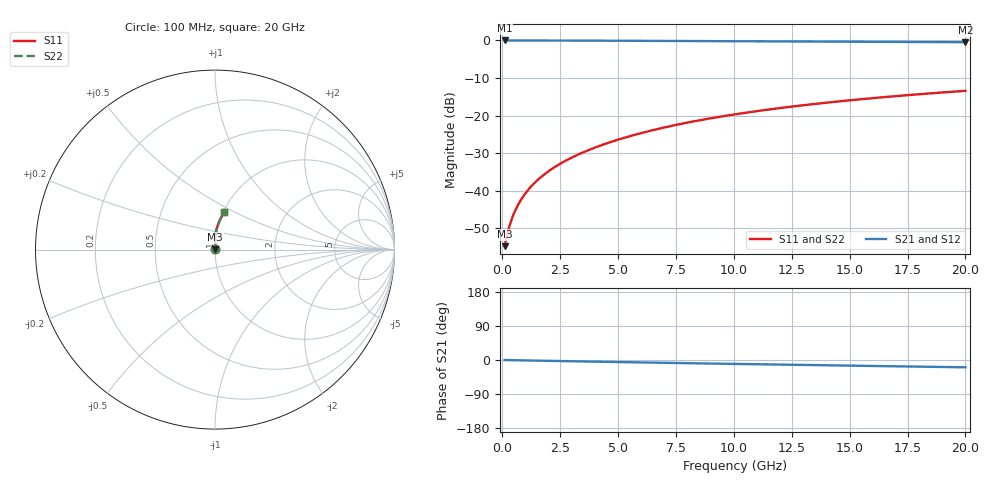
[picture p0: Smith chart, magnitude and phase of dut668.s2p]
! Touchstone file exported from HFSS 2024.1.0
!  File:  C:/UserFiles/LocalFiles/RDL_TSV_Batchsim/temp_RDL_bottom_668_1779786050.aedt
!  Generated:  05:03:42 PM May 26, 2026
!  Design:  RDL_bottom
!  Project:  temp_RDL_bottom_668_1779786050
!  Setup:  Setup1
!  Solution:  Sweep
! Variables:
!  dtsv = 10.80580581um
!  hbump = 3um
!  htsv = 53.14um
!  ldown = 231.38um
!  lrdl = 100um
!  p = 40
!  p1 = 54.75um
!  rhole = 1um
!  t = 450um
!  tdown = 2.67um
!  trdl = 3.915915916um
!  wdown = 25.09um
!  wrdl = 20um
# GHz S MA R 50.000000
! Terminal data exported
! Port[1] = RDL1_T1
! Port[2] = RDL1_T2
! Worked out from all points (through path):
!   200 points, 100 MHz to 20 GHz, reference 50 ohm
!   highest |S21| = -0.01 dB at 100 MHz (marker M1); lowest = -0.5 dB at 20 GHz (marker M2)
!   group delay of S21, straight-line fit = 2.65 ps
!   lowest |S11| = -54.8 dB at 100 MHz (marker M3), VSWR 1.00, Z = 50.2 + j0.0986 ohm
!   |S11| at or under -10 dB: start of sweep to end of sweep
!   |S22| runs from -54.8 to -13.4 dB; largest |S21 - S12| = 2.6e-15
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0.1  0.00183 32.5  0.9985 -0.1  0.9985 -0.1  0.00183 32.5
! Gamma 0 0 0 0
! Port Impedance 50 0 50 0
0.2  0.00251 50.6  0.9984 -0.2  0.9984 -0.2  0.00251 50.6
0.3  0.003304 60.1  0.9983 -0.4  0.9983 -0.4  0.003304 60.0
0.4  0.004128 65.8  0.9982 -0.5  0.9982 -0.5  0.004128 65.8
0.5  0.004963 69.6  0.9981 -0.6  0.9981 -0.6  0.004962 69.6
0.6  0.005805 72.5  0.998 -0.7  0.998 -0.7  0.005805 72.5
0.8  0.007511 76.5  0.9978 -0.9  0.9978 -0.9  0.007511 76.5
1.1  0.01012 80.3  0.9975 -1.3  0.9975 -1.3  0.01012 80.3
1.3  0.01188 81.9  0.9973 -1.5  0.9973 -1.5  0.01188 82.0
1.6  0.01456 83.8  0.997 -1.8  0.997 -1.8  0.01456 83.8
2.1  0.01911 85.9  0.9962 -2.4  0.9962 -2.4  0.01911 85.9
2.7  0.02472 87.5  0.9952 -3.0  0.9952 -3.0  0.02472 87.5
3.5  0.03247 88.8  0.9934 -3.9  0.9934 -3.9  0.03247 88.8
4.2  0.03949 89.4  0.9917 -4.6  0.9917 -4.6  0.03949 89.4
5  0.04779 89.7  0.9896 -5.5  0.9896 -5.5  0.04778 89.6
5.9  0.0574 89.6  0.9871 -6.4  0.9871 -6.4  0.0574 89.6
6.8  0.06726 89.2  0.9845 -7.3  0.9845 -7.3  0.06726 89.2
8.4  0.08517 88.1  0.9798 -8.8  0.9798 -8.8  0.08517 88.1
10.1  0.1044 86.5  0.9749 -10.4  0.9749 -10.4  0.1044 86.5
13.4  0.1418 83.0  0.9655 -13.4  0.9655 -13.4  0.1417 83.0
16.7  0.1782 79.5  0.956 -16.4  0.956 -16.4  0.1782 79.5
20  0.2134 76.0  0.9462 -19.3  0.9462 -19.3  0.2134 76.0
